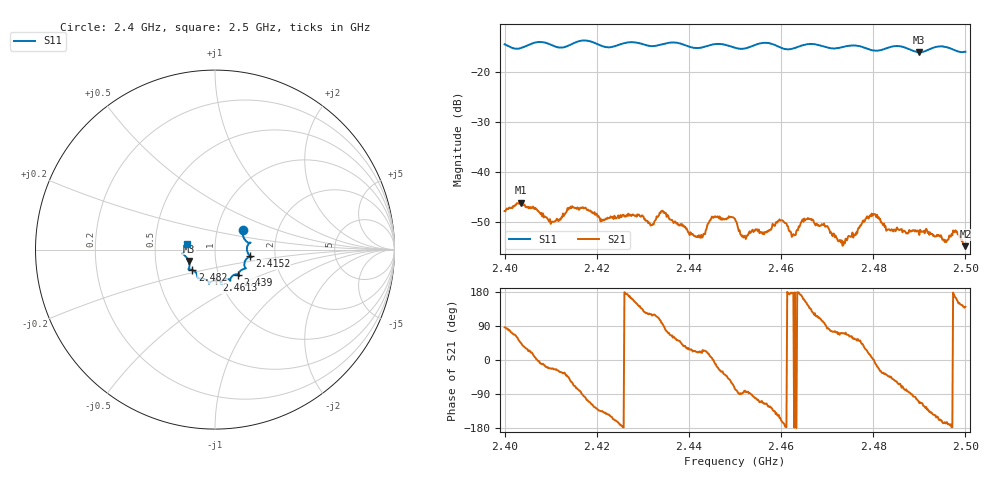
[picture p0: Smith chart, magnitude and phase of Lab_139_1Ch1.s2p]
# Hz S RI R 50
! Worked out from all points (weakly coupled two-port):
!   601 points, 2.4 GHz to 2.5 GHz, reference 50 ohm
!   highest |S21| = -46.12 dB at 2.4035 GHz (marker M1); lowest = -54.8 dB at 2.5 GHz (marker M2)
!   lowest |S11| = -15.9 dB at 2.49 GHz (marker M3), VSWR 1.38, Z = 36.9 - j4.8 ohm
!   |S11| at or under -10 dB: start of sweep to end of sweep
!   S12 and S22 are empty: the file has one direction only
!   S11 on the Smith chart (normalised r, x): 2.4 GHz: 1.33, +0.31; 2.4152 GHz: 1.48, -0.11; 2.439 GHz: 1.24, -0.36; 2.4613 GHz: 0.96, -0.34; 2.482 GHz: 0.76, -0.18; 2.5 GHz: 0.73, +0.05
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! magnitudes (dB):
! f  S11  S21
! 2.4 GHz  -14.3  -47.8
! 2.4035 GHz  -15.1  -46.1
! 2.4105 GHz  -14.6  -50.0
! 2.4152 GHz  -14.1  -47.2
! 2.4167 GHz  -13.6  -47.2
! 2.4213 GHz  -14.8  -49.7
! 2.4333 GHz  -14.5  -48.8
! 2.439 GHz  -14.5  -51.0
! 2.4425 GHz  -15.0  -53.1
! 2.4453 GHz  -14.4  -49.2
! 2.45 GHz  -15.0  -49.4
! 2.452 GHz  -15.2  -52.9
! 2.4613 GHz  -15.4  -50.8
! 2.4627 GHz  -15.2  -52.4
! 2.4667 GHz  -14.3  -49.7
! 2.4733 GHz  -14.9  -54.7
! 2.4797 GHz  -15.5  -48.3
! 2.482 GHz  -15.4  -50.3
! 2.4833 GHz  -15.0  -51.5
! 2.49 GHz  -15.9  -52.6
! 2.4978 GHz  -15.6  -51.6
! 2.5 GHz  -15.8  -54.8
